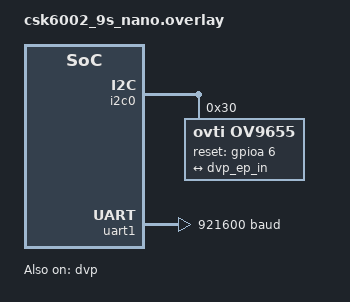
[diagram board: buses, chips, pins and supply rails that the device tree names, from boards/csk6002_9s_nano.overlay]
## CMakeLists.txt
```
# SPDX-License-Identifier: Apache-2.0

cmake_minimum_required(VERSION 3.20.0)

set(SUPPORT_BOARDS csk6012_nano csk6011a_nano)
if(NOT ${BOARD} IN_LIST SUPPORT_BOARDS)
    message("Please choose one of the following boards:")
    foreach(item ${SUPPORT_BOARDS})
        message(STATUS ${item})
    endforeach()
    message(FATAL_ERROR "\nThe project does not support the ${BOARD}")
endif()

find_package(Zephyr REQUIRED HINTS $ENV{ZEPHYR_BASE})
project(ov9655_dvp)

FILE(GLOB app_sources src/*.c)
target_sources(app PRIVATE ${app_sources})
```

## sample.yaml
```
tests:
  sample.board.csk6.driver.video.ov9655_dvp:
    platform_allow: csk6011a_nano
    tags: csk6
    build_only: true
```

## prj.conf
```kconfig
# hardware settings
CONFIG_GPIO=y
CONFIG_I2C=y
CONFIG_VIDEO=y
CONFIG_VIDEO_CSK6_DVP=y
CONFIG_VIDEO_OV9655=y
# CONFIG_VIDEO_OV9655_MANUAL_UV=y

#log settings
CONFIG_LOG=y
CONFIG_LOG_PRINTK=y
# CONFIG_LOG_MODE_IMMEDIATE=y

#buffer space settings
CONFIG_VIDEO_BUFFER_POOL_SZ_MAX=409600
CONFIG_VIDEO_CUSTOM_SECTION=y
CONFIG_VIDEO_CUSTOM_SECTION_NAME=".psram_section"
CONFIG_CSK6_PSRAM=y
```

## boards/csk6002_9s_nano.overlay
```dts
&pinctrl{
                pinctrl_uart1_tx_default: uart1_tx_default{
                    pinctrls = <UART1_TXD_GPIOA_04>;
                };

                pinctrl_i2c0_scl_default: i2c0_scl_default{
                        pinctrls = <I2C0_SCL_GPIOB_00>;
                };
                
                pinctrl_i2c0_sda_default: i2c0_sda_default{
                        pinctrls = <I2C0_SDA_GPIOB_01>;
                };

                pinctrl_dvp_clkout_default: dvp_clkout_default{
                    pinctrls = <CLKP_OUT_GPIOA_07>;
                };

                pinctrl_dvp_vsync_default: dvp_vsync_default{
                    pinctrls = <I_V_SYNC_GPIOA_14>;
                };

                pinctrl_dvp_hsync_default: dvp_hync_default{
                    pinctrls = <I_H_SYNC_GPIOA_13>;
                };

                pinctrl_dvp_pclk_default: dvp_pclk_default{
                    pinctrls = <I_PIXEL_CLK_GPIOA_15>;
                };

                pinctrl_dvp_d4_default: dvp_d4_default{
                    pinctrls = <I_PIXEL_DATA4_GPIOB_04>;
                };

                pinctrl_dvp_d5_default: dvp_d5_default{
                    pinctrls = <I_PIXEL_DATA5_GPIOB_05>;
                };

                pinctrl_dvp_d6_default: dvp_d6_default{
                    pinctrls = <I_PIXEL_DATA6_GPIOB_06>;
                };

                pinctrl_dvp_d7_default: dvp_d7_default{
                    pinctrls = <I_PIXEL_DATA7_GPIOB_07>;
                };

                
                pinctrl_dvp_d8_default: dvp_d8_default{
                    pinctrls = <I_PIXEL_DATA8_GPIOB_08>;
                };

                
                pinctrl_dvp_d9_default: dvp_d9_default{
                    pinctrls = <I_PIXEL_DATA9_GPIOA_20>;
                };

                
                pinctrl_dvp_d10_default: dvp_d10_default{
                    pinctrls = <I_PIXEL_DATA10_GPIOA_08>;
                };

                
                pinctrl_dvp_d11_default: dvp_d11_default{
                    pinctrls = <I_PIXEL_DATA11_GPIOA_09>;
                };
};

&spi0 {
    status = "disabled";
};

&spi1 {
    status = "disabled";
};

&i2c0 {
        status = "okay";
        pinctrl-0 = <&pinctrl_i2c0_scl_default &pinctrl_i2c0_sda_default>; 
        pinctrl-names = "default";

        ov9655: ov9655@30 {
            compatible = "ovti,ov9655";
            status = "okay";
            label = "OV9655";
            reg = <0x30>;
            reset-gpios = <&gpioa 6 0>;

            port {
                ov9655_ep_out: endpoint {
                    remote-endpoint = <&dvp_ep_in>;
                };
			};
		};

};

&uart1 {
        pinctrl-0 = <&pinctrl_uart1_tx_default>; 
        pinctrl-names = "default";
        current-speed = <921600>;
        status = "okay";
};

&dvp {
    status = "okay";
    sensor-label = "OV9655";
    clock-prescaler = <5>;
    data-align-type = "high_align";
    pclk-polarity = "post_edge_sampling";
    hsync-polarity = "active_high";
    vsync-polarity = "active_low";

    pinctrl-0 = <
                &pinctrl_dvp_clkout_default 
                &pinctrl_dvp_vsync_default
                &pinctrl_dvp_hsync_default
                &pinctrl_dvp_pclk_default
                &pinctrl_dvp_d4_default
                &pinctrl_dvp_d5_default
                &pinctrl_dvp_d6_default
                &pinctrl_dvp_d7_default
                &pinctrl_dvp_d8_default
                &pinctrl_dvp_d9_default
                &pinctrl_dvp_d10_default
                &pinctrl_dvp_d11_default
                >; 
    pinctrl-names = "default";

	port {
		dvp_ep_in: endpoint {
			remote-endpoint = <&ov9655_ep_out>;
		};
	};

};
```

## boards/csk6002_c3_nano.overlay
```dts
&csk6002_c3_nano_pinctrl{
                pinctrl_uart1_tx_default: uart1_tx_default{
                    pinctrls = <UART1_TXD_GPIOA_04>;
                };

                pinctrl_i2c0_scl_default: i2c0_scl_default{
                        pinctrls = <I2C0_SCL_GPIOB_00>;
                };
                
                pinctrl_i2c0_sda_default: i2c0_sda_default{
                        pinctrls = <I2C0_SDA_GPIOB_01>;
                };

                pinctrl_dvp_clkout_default: dvp_clkout_default{
                    pinctrls = <CLKP_OUT_GPIOA_07>;
                };

                pinctrl_dvp_vsync_default: dvp_vsync_default{
                    pinctrls = <I_V_SYNC_GPIOA_14>;
                };

                pinctrl_dvp_hsync_default: dvp_hync_default{
                    pinctrls = <I_H_SYNC_GPIOA_13>;
                };

                pinctrl_dvp_pclk_default: dvp_pclk_default{
                    pinctrls = <I_PIXEL_CLK_GPIOA_15>;
                };

                pinctrl_dvp_d4_default: dvp_d4_default{
                    pinctrls = <I_PIXEL_DATA4_GPIOB_04>;
                };

                pinctrl_dvp_d5_default: dvp_d5_default{
                    pinctrls = <I_PIXEL_DATA5_GPIOB_05>;
                };

                pinctrl_dvp_d6_default: dvp_d6_default{
                    pinctrls = <I_PIXEL_DATA6_GPIOB_06>;
                };

                pinctrl_dvp_d7_default: dvp_d7_default{
                    pinctrls = <I_PIXEL_DATA7_GPIOB_07>;
                };

                
                pinctrl_dvp_d8_default: dvp_d8_default{
                    pinctrls = <I_PIXEL_DATA8_GPIOB_08>;
                };

                
                pinctrl_dvp_d9_default: dvp_d9_default{
                    pinctrls = <I_PIXEL_DATA9_GPIOA_20>;
                };

                
                pinctrl_dvp_d10_default: dvp_d10_default{
                    pinctrls = <I_PIXEL_DATA10_GPIOA_08>;
                };

                
                pinctrl_dvp_d11_default: dvp_d11_default{
                    pinctrls = <I_PIXEL_DATA11_GPIOA_09>;
                };
};

&spi0 {
    status = "disabled";
};

&spi1 {
    status = "disabled";
};

&i2c0 {
        status = "okay";
        pinctrl-0 = <&pinctrl_i2c0_scl_default &pinctrl_i2c0_sda_default>; 
        pinctrl-names = "default";

        ov9655: ov9655@30 {
            compatible = "ovti,ov9655";
            status = "okay";
            label = "OV9655";
            reg = <0x30>;
            reset-gpios = <&gpioa 6 0>;

            port {
                ov9655_ep_out: endpoint {
                    remote-endpoint = <&dvp_ep_in>;
                };
			};
		};

};

&uart1 {
        pinctrl-0 = <&pinctrl_uart1_tx_default>; 
        pinctrl-names = "default";
        current-speed = <921600>;
        status = "okay";
};

&dvp {
    status = "okay";
    sensor-label = "OV9655";
    clock-prescaler = <5>;
    data-align-type = "high_align";
    pclk-polarity = "post_edge_sampling";
    hsync-polarity = "active_high";
    vsync-polarity = "active_low";

    pinctrl-0 = <
                &pinctrl_dvp_clkout_default 
                &pinctrl_dvp_vsync_default
                &pinctrl_dvp_hsync_default
                &pinctrl_dvp_pclk_default
                &pinctrl_dvp_d4_default
                &pinctrl_dvp_d5_default
                &pinctrl_dvp_d6_default
                &pinctrl_dvp_d7_default
                &pinctrl_dvp_d8_default
                &pinctrl_dvp_d9_default
                &pinctrl_dvp_d10_default
                &pinctrl_dvp_d11_default
                >; 
    pinctrl-names = "default";

	port {
		dvp_ep_in: endpoint {
			remote-endpoint = <&ov9655_ep_out>;
		};
	};

};
```

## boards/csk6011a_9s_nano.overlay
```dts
&csk6011a_9s_nano_pinctrl{
                pinctrl_uart1_tx_default: uart1_tx_default{
                    pinctrls = <&pinmuxa 4 3>;
                };

                pinctrl_i2c0_scl_default: i2c0_scl_default{
                        pinctrls = <&pinmuxb 0 8>;
                };
                
                pinctrl_i2c0_sda_default: i2c0_sda_default{
                        pinctrls = <&pinmuxb 1 8>;
                };

                pinctrl_dvp_clkout_default: dvp_clkout_default{
                    pinctrls = <&pinmuxa 7 20>;
                };

                pinctrl_dvp_vsync_default: dvp_vsync_default{
                    pinctrls = <&pinmuxa 14 20>;
                };

                pinctrl_dvp_hsync_default: dvp_hync_default{
                    pinctrls = <&pinmuxa 13 20>;
                };

                pinctrl_dvp_pclk_default: dvp_pclk_default{
                    pinctrls = <&pinmuxa 15 20>;
                };

                pinctrl_dvp_d4_default: dvp_d4_default{
                    pinctrls = <&pinmuxb 4 20>;
                };

                pinctrl_dvp_d5_default: dvp_d5_default{
                    pinctrls = <&pinmuxb 5 20>;
                };

                pinctrl_dvp_d6_default: dvp_d6_default{
                    pinctrls = <&pinmuxb 6 20>;
                };

                pinctrl_dvp_d7_default: dvp_d7_default{
                    pinctrls = <&pinmuxb 7 20>;
                };

                
                pinctrl_dvp_d8_default: dvp_d8_default{
                    pinctrls = <&pinmuxb 8 20>;
                };

                
                pinctrl_dvp_d9_default: dvp_d9_default{
                    pinctrls = <&pinmuxa 20 20>;
                };

                
                pinctrl_dvp_d10_default: dvp_d10_default{
                    pinctrls = <&pinmuxa 8 20>;
                };

                
                pinctrl_dvp_d11_default: dvp_d11_default{
                    pinctrls = <&pinmuxa 9 20>;
                };
};

&spi0 {
    status = "disabled";
};

&spi1 {
    status = "disabled";
};

&i2c0 {
        status = "okay";
        pinctrl-0 = <&pinctrl_i2c0_scl_default &pinctrl_i2c0_sda_default>; 
        pinctrl-names = "default";

        ov9655: ov9655@30 {
            compatible = "ovti,ov9655";
            status = "okay";
            label = "OV9655";
            reg = <0x30>;
            reset-gpios = <&gpioa 6 0>;

            port {
                ov9655_ep_out: endpoint {
                    remote-endpoint = <&dvp_ep_in>;
                };
			};
		};

};

&uart1 {
        pinctrl-0 = <&pinctrl_uart1_tx_default>; 
        pinctrl-names = "default";
        current-speed = <921600>;
        status = "okay";
};

&dvp {
    status = "okay";
    sensor-label = "OV9655";
    clock-prescaler = <5>;
    data-align-type = "high_align";
    pclk-polarity = "post_edge_sampling";
    hsync-polarity = "active_high";
    vsync-polarity = "active_low";

    pinctrl-0 = <
                &pinctrl_dvp_clkout_default 
                &pinctrl_dvp_vsync_default
                &pinctrl_dvp_hsync_default
                &pinctrl_dvp_pclk_default
                &pinctrl_dvp_d4_default
                &pinctrl_dvp_d5_default
                &pinctrl_dvp_d6_default
                &pinctrl_dvp_d7_default
                &pinctrl_dvp_d8_default
                &pinctrl_dvp_d9_default
                &pinctrl_dvp_d10_default
                &pinctrl_dvp_d11_default
                >; 
    pinctrl-names = "default";

	port {
		dvp_ep_in: endpoint {
			remote-endpoint = <&ov9655_ep_out>;
		};
	};

};
```

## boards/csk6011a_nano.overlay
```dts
/*
 * Copyright (c) 2023 Anhui(Shenzhen) Listenai Co., Ltd.
 *
 * SPDX-License-Identifier: Apache-2.0
 */
&pinctrl {
	pinctrl_uart1_tx_default: uart1_tx_default{
		pinctrls = <UART1_TXD_GPIOA_12>;
	};

	pinctrl_i2c0_scl_default: i2c0_scl_default{
		pinctrls = <I2C0_SCL_GPIOB_10>;
	};

	pinctrl_i2c0_sda_default: i2c0_sda_default{
		pinctrls = <I2C0_SDA_GPIOB_11>;
	};

	pinctrl_dvp_clkout_default: dvp_clkout_default{
		pinctrls = <CLKP_OUT_GPIOA_07>;
	};

	pinctrl_dvp_vsync_default: dvp_vsync_default{
		pinctrls = <I_V_SYNC_GPIOA_14>;
	};

	pinctrl_dvp_hsync_default: dvp_hync_default{
		pinctrls = <I_H_SYNC_GPIOA_13>;
	};

	pinctrl_dvp_pclk_default: dvp_pclk_default{
		pinctrls = <I_PIXEL_CLK_GPIOA_15>;
	};

	pinctrl_dvp_d4_default: dvp_d4_default{
		pinctrls = <I_PIXEL_DATA4_GPIOB_04>;
	};

	pinctrl_dvp_d5_default: dvp_d5_default{
		pinctrls = <I_PIXEL_DATA5_GPIOB_05>;
	};

	pinctrl_dvp_d6_default: dvp_d6_default{
		pinctrls = <I_PIXEL_DATA6_GPIOB_06>;
	};

	pinctrl_dvp_d7_default: dvp_d7_default{
		pinctrls = <I_PIXEL_DATA7_GPIOB_07>;
	};


	pinctrl_dvp_d8_default: dvp_d8_default{
		pinctrls = <I_PIXEL_DATA8_GPIOB_08>;
	};


	pinctrl_dvp_d9_default: dvp_d9_default{
		pinctrls = <I_PIXEL_DATA9_GPIOA_20>;
	};


	pinctrl_dvp_d10_default: dvp_d10_default{
		pinctrls = <I_PIXEL_DATA10_GPIOA_08>;
	};


	pinctrl_dvp_d11_default: dvp_d11_default{
		pinctrls = <I_PIXEL_DATA11_GPIOA_09>;
	};
};

&spi0 {
	status = "disabled";
};

&spi1 {
	status = "disabled";
};

&i2c0 {
	status = "okay";
	pinctrl-0 = <&pinctrl_i2c0_scl_default &pinctrl_i2c0_sda_default>;
	pinctrl-names = "default";

	ov9655: ov9655@30 {
		compatible = "ovti,ov9655";
		status = "okay";
		label = "OV9655";
		reg = <0x30>;
		reset-gpios = <&gpioa 6 0>;

		port {
			ov9655_ep_out: endpoint {
				remote-endpoint = <&dvp_ep_in>;
			};
		};
	};

};

&uart1 {
	pinctrl-0 = <&pinctrl_uart1_tx_default>;
	pinctrl-names = "default";
	current-speed = <921600>;
	status = "okay";
};

&dvp {
	status = "okay";
	sensor-label = "OV9655";
	clock-prescaler = <5>;
	data-align-type = "high_align";
	pclk-polarity = "post_edge_sampling";
	hsync-polarity = "active_high";
	vsync-polarity = "active_low";

	pinctrl-0 = <
	&pinctrl_dvp_clkout_default
	&pinctrl_dvp_vsync_default
	&pinctrl_dvp_hsync_default
	&pinctrl_dvp_pclk_default
	&pinctrl_dvp_d4_default
	&pinctrl_dvp_d5_default
	&pinctrl_dvp_d6_default
	&pinctrl_dvp_d7_default
	&pinctrl_dvp_d8_default
	&pinctrl_dvp_d9_default
	&pinctrl_dvp_d10_default
	&pinctrl_dvp_d11_default
	>;
	pinctrl-names = "default";

	port {
		dvp_ep_in: endpoint {
			remote-endpoint = <&ov9655_ep_out>;
		};
	};

};
```

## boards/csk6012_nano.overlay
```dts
/*
 * Copyright (c) 2023 Anhui(Shenzhen) Listenai Co., Ltd.
 *
 * SPDX-License-Identifier: Apache-2.0
 */
&pinctrl {
	pinctrl_uart1_tx_default: uart1_tx_default{
		pinctrls = <UART1_TXD_GPIOA_12>;
	};

	pinctrl_i2c0_scl_default: i2c0_scl_default{
		pinctrls = <I2C0_SCL_GPIOB_00>;
	};

	pinctrl_i2c0_sda_default: i2c0_sda_default{
		pinctrls = <I2C0_SDA_GPIOB_01>;
	};

	pinctrl_dvp_clkout_default: dvp_clkout_default{
		pinctrls = <CLKP_OUT_GPIOA_07>;
	};

	pinctrl_dvp_vsync_default: dvp_vsync_default{
		pinctrls = <I_V_SYNC_GPIOA_14>;
	};

	pinctrl_dvp_hsync_default: dvp_hync_default{
		pinctrls = <I_H_SYNC_GPIOA_13>;
	};

	pinctrl_dvp_pclk_default: dvp_pclk_default{
		pinctrls = <I_PIXEL_CLK_GPIOA_15>;
	};

	pinctrl_dvp_d4_default: dvp_d4_default{
		pinctrls = <I_PIXEL_DATA4_GPIOB_04>;
	};

	pinctrl_dvp_d5_default: dvp_d5_default{
		pinctrls = <I_PIXEL_DATA5_GPIOB_05>;
	};

	pinctrl_dvp_d6_default: dvp_d6_default{
		pinctrls = <I_PIXEL_DATA6_GPIOB_06>;
	};

	pinctrl_dvp_d7_default: dvp_d7_default{
		pinctrls = <I_PIXEL_DATA7_GPIOB_07>;
	};


	pinctrl_dvp_d8_default: dvp_d8_default{
		pinctrls = <I_PIXEL_DATA8_GPIOB_08>;
	};


	pinctrl_dvp_d9_default: dvp_d9_default{
		pinctrls = <I_PIXEL_DATA9_GPIOA_20>;
	};


	pinctrl_dvp_d10_default: dvp_d10_default{
		pinctrls = <I_PIXEL_DATA10_GPIOA_08>;
	};


	pinctrl_dvp_d11_default: dvp_d11_default{
		pinctrls = <I_PIXEL_DATA11_GPIOA_09>;
	};
};

&spi0 {
	status = "disabled";
};

&spi1 {
	status = "disabled";
};

&i2c0 {
	status = "okay";
	pinctrl-0 = <&pinctrl_i2c0_scl_default &pinctrl_i2c0_sda_default>;
	pinctrl-names = "default";

	ov9655: ov9655@30 {
		compatible = "ovti,ov9655";
		status = "okay";
		label = "OV9655";
		reg = <0x30>;
		reset-gpios = <&gpioa 6 0>;

		port {
			ov9655_ep_out: endpoint {
				remote-endpoint = <&dvp_ep_in>;
			};
		};
	};

};

&uart1 {
	pinctrl-0 = <&pinctrl_uart1_tx_default>;
	pinctrl-names = "default";
	current-speed = <921600>;
	status = "okay";
};

&dvp {
	status = "okay";
	sensor-label = "OV9655";
	clock-prescaler = <5>;
	data-align-type = "high_align";
	pclk-polarity = "post_edge_sampling";
	hsync-polarity = "active_high";
	vsync-polarity = "active_low";

	pinctrl-0 = <
	&pinctrl_dvp_clkout_default
	&pinctrl_dvp_vsync_default
	&pinctrl_dvp_hsync_default
	&pinctrl_dvp_pclk_default
	&pinctrl_dvp_d4_default
	&pinctrl_dvp_d5_default
	&pinctrl_dvp_d6_default
	&pinctrl_dvp_d7_default
	&pinctrl_dvp_d8_default
	&pinctrl_dvp_d9_default
	&pinctrl_dvp_d10_default
	&pinctrl_dvp_d11_default
	>;
	pinctrl-names = "default";

	port {
		dvp_ep_in: endpoint {
			remote-endpoint = <&ov9655_ep_out>;
		};
	};

};
```

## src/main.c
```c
/*
 * Copyright (c) 2023 Anhui(Shenzhen) Listenai Co., Ltd.
 *
 * SPDX-License-Identifier: Apache-2.0
 */

#include <device.h>
#include <drivers/video.h>
#include <zephyr.h>

#define LOG_LEVEL CONFIG_LOG_DEFAULT_LEVEL
#include <logging/log.h>
LOG_MODULE_REGISTER(main);

#define VIDEO_DEV    DT_LABEL(DT_NODELABEL(dvp))
#define VBUF_NUM     2
#define IMAGE_HEIGHT 240
#define IMAGE_WIDTH  320
#define IMAGE_SIZE   (IMAGE_WIDTH * IMAGE_HEIGHT * 2)

#define USE_SERIAL_PROTOCOL (0)

const struct device *video;
uint8_t image_buf[IMAGE_SIZE];

extern int frame_send(uint8_t *frameBuf, uint16_t width, uint16_t height, uint8_t mode);

int calculate_fps(struct video_buffer *vbuf)
{
	static uint32_t last_timestamp = 0;
	int fps;

	fps = vbuf->timestamp - last_timestamp ? 1000 / (vbuf->timestamp - last_timestamp) : 0;

	last_timestamp = vbuf->timestamp;

	return fps;
}

void main(void)
{
	struct video_buffer *buffers[VBUF_NUM], *vbuf;
	struct video_format fmt;
	struct video_caps caps;
	unsigned int frame = 0;
	size_t bsize;
	int i = 0;

	video = device_get_binding(VIDEO_DEV);

	if (video == NULL) {
		LOG_ERR("Video device %s not found, "
			"fallback to software generator.",
			VIDEO_DEV);

		return;
	}

	printk("- Device name: %s\n", VIDEO_DEV);

	// /* Get capabilities */
	if (video_get_caps(video, VIDEO_EP_OUT, &caps)) {
		LOG_ERR("Unable to retrieve video capabilities");
		return;
	}

	printk("- Capabilities:\n");
	while (caps.format_caps[i].pixelformat) {
		const struct video_format_cap *fcap = &caps.format_caps[i];
		/* fourcc to string */
		printk("  %c%c%c%c width [%u; %u; %u] height [%u; %u; %u]\n",
		       (char)fcap->pixelformat, (char)(fcap->pixelformat >> 8),
		       (char)(fcap->pixelformat >> 16), (char)(fcap->pixelformat >> 24),
		       fcap->width_min, fcap->width_max, fcap->width_step, fcap->height_min,
		       fcap->height_max, fcap->height_step);
		i++;
	}

	fmt.pixelformat = VIDEO_PIX_FMT_VYUY;
	fmt.width = IMAGE_WIDTH;
	fmt.height = IMAGE_HEIGHT;
	fmt.pitch = fmt.width * 2;
	if (video_set_format(video, VIDEO_EP_OUT, &fmt)) {
		LOG_ERR("Unable to set video format");
		return;
	}

	/* Size to allocate for each buffer */
	bsize = fmt.height * fmt.pitch;

	/* Alloc video buffers and enqueue for capture */
	for (i = 0; i < ARRAY_SIZE(buffers); i++) {
		LOG_INF("Alloc vide buffer: %d\n", bsize);
		buffers[i] = video_buffer_alloc(bsize);
		if (buffers[i] == NULL) {
			LOG_ERR("Unable to alloc video buffer");
			return;
		}

		video_enqueue(video, VIDEO_EP_OUT, buffers[i]);
	}

	/* Start video capture */
	if (video_stream_start(video)) {
		LOG_ERR("Unable to start capture (interface)");
		return;
	}

	printk("Capture started\n");

	/* Grab video frames */
	while (1) {
		int err;
		err = video_dequeue(video, VIDEO_EP_OUT, &vbuf, K_FOREVER);
		if (err) {
			LOG_ERR("Unable to dequeue video buf");
			return;
		}

#if USE_SERIAL_PROTOCOL
		memcpy(image_buf, vbuf->buffer, IMAGE_SIZE);
		frame_send(image_buf, fmt.width, fmt.height, 0);
#endif

		LOG_INF("\rGot frame %u! size: %u; timestamp %u ms fps %d\n", frame++,
			vbuf->bytesused, vbuf->timestamp, calculate_fps(vbuf));

		err = video_enqueue(video, VIDEO_EP_OUT, vbuf);
		if (err) {
			LOG_ERR("Unable to requeue video buf");
			return;
		}
	}
}
```

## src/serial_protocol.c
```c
#include <string.h>
#include <stdio.h>

#include <zephyr.h>
#include <device.h>
#include <drivers/uart.h>

#define UART0		DT_NODELABEL(uart1)
#define MAX_TX_FRAME_LEN (32*1024)
#define UART_TX_BLOCK		(MAX_TX_FRAME_LEN>>1)

const struct device *uart_dev;
uint8_t txBuf[UART_TX_BLOCK+1]; 	// append 1 byte checksum
uint8_t txFrame[MAX_TX_FRAME_LEN+4];// tx frame buffer + header & ender & checksum w/ or w/o encoded bytes

uint32_t rfc1662Encode(uint8_t *buf, uint32_t bufLen, uint8_t *pData, uint32_t dataLen);

static uint8_t calc_checksum(uint8_t *pData, int len)
{
	uint8_t checksum = 0;
	for(int i = 0; i < len; i++)
	{
		checksum += pData[i];
	}
	return checksum;
}

int serial_transmit(uint8_t *buf, int len)
{
	static uint8_t first = 1;
	if(first){
		uart_dev = DEVICE_DT_GET(UART0);
		if(!device_is_ready(uart_dev)){
			printk("device:%s is not ready!", uart_dev->name);
			return -1;
		}
		first = 0;
	}

	if(uart_dev){
		for(uint32_t i = 0; i < len; i++){
			uart_poll_out(uart_dev, buf[i]);
		}
	}
	return 0;
}

int frame_send(uint8_t *frameBuf, uint16_t width, uint16_t height, uint8_t mode)
{
	int txLen;

	txLen = width*height*2;
	
	int txPos = 0;
	while(txLen > UART_TX_BLOCK)
	{
		memcpy(txBuf, &frameBuf[txPos], UART_TX_BLOCK);
		txBuf[UART_TX_BLOCK] = calc_checksum(txBuf, UART_TX_BLOCK);
		uint32_t encLen = rfc1662Encode(txFrame, sizeof(txFrame), (uint8_t*)txBuf, UART_TX_BLOCK+1);
		if (encLen == 0) {
			while(1);
		}
		serial_transmit(txFrame, encLen);

		txPos += UART_TX_BLOCK;
		txLen -= UART_TX_BLOCK;
	}
	if(txLen > 0)
	{
		memcpy(txBuf, &frameBuf[txPos], txLen);
		txBuf[txLen] = calc_checksum(txBuf, txLen);
		uint32_t encLen = rfc1662Encode(txFrame, sizeof(txFrame), (uint8_t*)&txBuf, txLen+1);
		if (encLen == 0) {
			while(1);
		}
		serial_transmit(txFrame, encLen);
	}
	txFrame[0] = 0x7E;
	txFrame[1] = 0x00;
	txFrame[2] = 0x7E;
	// indication of frame dimension
	serial_transmit(txFrame, 3);

	txBuf[0] = width % 256;
	txBuf[1] = width / 256;
	txBuf[2] = height % 256;
	txBuf[3] = height / 256;
	txBuf[4] = mode;
	txBuf[5] = 0;
	txBuf[6] = calc_checksum(txBuf, 6);
	uint32_t encLen = rfc1662Encode(txFrame, sizeof(txFrame), (uint8_t*)&txBuf, 7);
	// indication of frame dimension
	serial_transmit(txFrame, encLen);

	txFrame[0] = 0x7E;
	txFrame[1] = 0x01;
	txFrame[2] = 0x7E;
	// indication of end of frame
	serial_transmit(txFrame, 3);

	return 0;
}

#define RFC1662_FLAG	(0x7E)
#define RFC1662_ESCAPE	(0x7D)

uint32_t rfc1662Encode(uint8_t *buf, uint32_t bufLen, uint8_t *pData, uint32_t dataLen)
{
    uint32_t encLen = 0;

    // Add start flag
    // (bufLen checks at each insert return error on overflow.)
    if (bufLen <= encLen) goto error;
    buf[encLen++] = RFC1662_FLAG;
  
    // Copy pData to buf, escaping flags and escape chars in content
    for (uint32_t n = 0; n < dataLen; n++) {
        // If next byte needs to be escaped...
        if ((pData[n] == RFC1662_FLAG) || (pData[n] == RFC1662_ESCAPE)) {
            // If overflowed, return error
            if (bufLen <= encLen-1) goto error;

            // Add escaped data to buffer
            buf[encLen++] = RFC1662_ESCAPE;
            buf[encLen++] = pData[n] ^ 0x20;
        }
        else {
            // If overflowed, return error
            if (bufLen <= encLen) goto error;

            // Add data to buffer
            buf[encLen++] = pData[n];
        }
    }
    
    // Add stop flag
    if (bufLen <= encLen) goto error;
    buf[encLen++] = RFC1662_FLAG;
    
    // return the length of data in the buffer
    return encLen;
    
    // On error, return 0
error:
    return 0;
}
```
